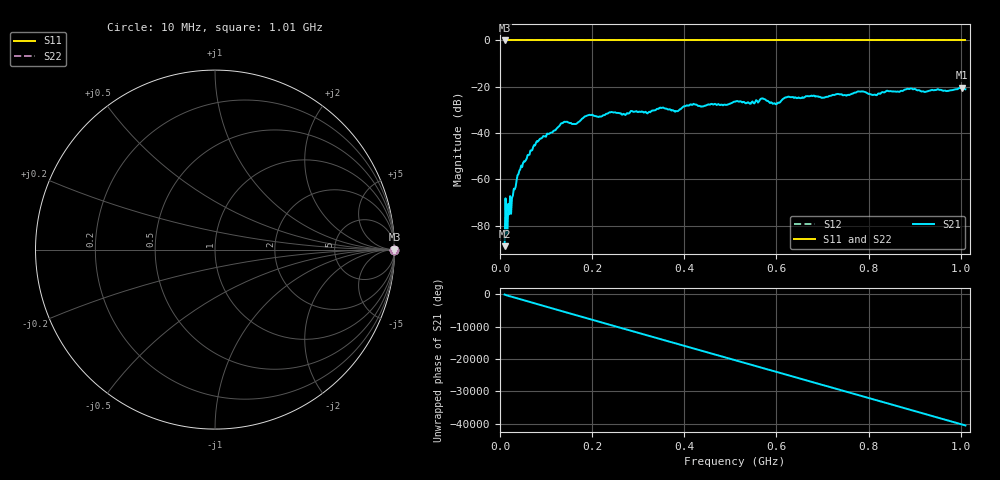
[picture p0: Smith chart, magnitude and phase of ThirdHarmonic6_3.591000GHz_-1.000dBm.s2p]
! 8/17/2025 11:57:02 AM
! C:\ANRITSUVNA\TEMP\TEMP.S2P
! CHANNEL.1
! TR.MEASUREMENT
! RAW.DATA
! RF.CORRECTION.OFF
! AVERAGING.OFF
! IF.BANDWIDTH: 5KHZ
! SWEEPTYPE:  FREQ.SWEEP(Linear)
! Reference Plane Port Info
! PORT:  PORT1  PORT2
! DISTANCE:  0  m  0  m
! TIME:  0  s  0  s
! PHASE.OFFSET:  0  deg.  0  deg.
! LOSS:  0  dB  0  dB
! REF.LOSS:  0  dB  0  dB
! REF.FREQ:  0  Hz  0  Hz
! Power Info
! POWER:  -20  dBm  -20  dBm
! EFF.POWER:  -20  dBm  -20  dBm
! SOURCE.ATTEN:  0  dB  0  dB
! TEST.ATTEN:  0  dB  0  dB
# GHZ S RI R 50.0
! FREQ.GHZ  S11RE  S11IM  S21RE  S21IM  S12RE  S12IM  S22RE  S22IM
!; PortSelection: Port_12
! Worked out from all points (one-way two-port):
!   501 points, 10 MHz to 1.01 GHz, reference 50 ohm
!   highest |S21| = -20.39 dB at 1.002 GHz (marker M1); lowest = -88.9 dB at 10 MHz (marker M2)
!   lowest |S11| = 0.0 dB at 10 MHz (marker M3)
!   |S11| at or under -10 dB: nowhere
!   |S22| runs from 0.0 to 0.0 dB; largest |S21 - S12| = 1.1
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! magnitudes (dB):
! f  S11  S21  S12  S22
! 10 MHz  0.0  -88.9  0.0  0.0
! 20 MHz  0.0  -75.1  0.0  0.0
! 42 MHz  0.0  -56.3  0.0  0.0
! 76 MHz  0.0  -45.4  0.0  0.0
! 136 MHz  0.0  -35.7  0.0  0.0
! 162 MHz  0.0  -36.1  0.0  0.0
! 178 MHz  0.0  -33.8  0.0  0.0
! 196 MHz  0.0  -32.2  0.0  0.0
! 344 MHz  0.0  -29.6  0.0  0.0
! 382 MHz  0.0  -30.5  0.0  0.0
! 416 MHz  0.0  -27.9  0.0  0.0
! 510 MHz  0.0  -26.5  0.0  0.0
! 548 MHz  0.0  -26.4  0.0  0.0
! 570 MHz  0.0  -25.1  0.0  0.0
! 596 MHz  0.0  -27.1  0.0  0.0
! 622 MHz  0.0  -24.5  0.0  0.0
! 678 MHz  0.0  -24.0  0.0  0.0
! 782 MHz  0.0  -22.1  0.0  0.0
! 814 MHz  0.0  -23.4  0.0  0.0
! 844 MHz  0.0  -22.0  0.0  0.0
! 1.002 GHz  0.0  -20.4  0.0  0.0
! 1.01 GHz  0.0  -21.1  0.0  0.0
